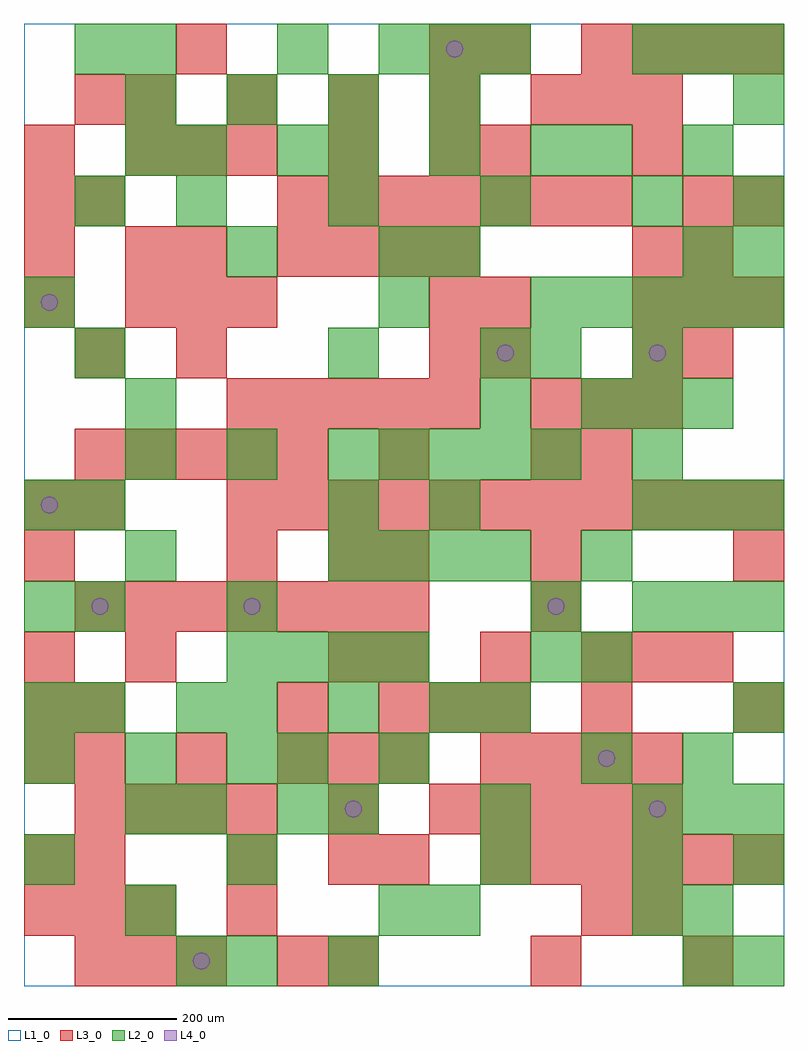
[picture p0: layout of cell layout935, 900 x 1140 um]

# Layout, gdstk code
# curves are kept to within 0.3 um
import gdstk
lib = gdstk.Library(unit=1e-6, precision=1e-09)
def R(c, l, rs):  # rectangles x0, y0, x1, y1
    for r in rs: c.add(gdstk.rectangle(r[:2], r[2:], *l))
def A(c, l, x, y, w, h, nx, ny, dx, dy):  # array of equal rectangles
    R(c, l, [(x+i*dx, y+j*dy, x+i*dx+w, y+j*dy+h) for i in range(nx) for j in range(ny)])
def P(c, l, *ps):  # polygons
    for p in ps: c.add(gdstk.Polygon(p, *l))
L1_0 = (1, 0)
L2_0 = (2, 0)
L3_0 = (3, 0)
L4_0 = (4, 0)

layout935 = lib.new_cell('layout935')
R(layout935, L1_0, [(0,0,900,1140)])
A(layout935, L2_0, 360, 180, 60, 60, 3, 1, 180, 0)
A(layout935, L2_0, 0, 240, 60, 60, 3, 1, 120, 0)
A(layout935, L2_0, 660, 240, 60, 60, 1, 3, 0, 120)
A(layout935, L2_0, 0, 300, 60, 60, 1, 3, 0, 120)
A(layout935, L2_0, 60, 300, 60, 60, 1, 3, 0, 120)
A(layout935, L2_0, 240, 300, 60, 60, 3, 1, 120, 0)
A(layout935, L2_0, 240, 360, 60, 60, 4, 1, 60, 0)
A(layout935, L2_0, 720, 420, 60, 60, 3, 2, 60, 120)
A(layout935, L2_0, 360, 480, 60, 60, 4, 1, 60, 0)
A(layout935, L2_0, 120, 600, 60, 60, 3, 1, 120, 0)
A(layout935, L2_0, 420, 600, 60, 60, 4, 1, 60, 0)
A(layout935, L2_0, 660, 660, 60, 60, 3, 1, 60, 0)
A(layout935, L2_0, 60, 720, 60, 60, 1, 3, 0, 180)
A(layout935, L2_0, 600, 780, 60, 60, 5, 1, 60, 0)
A(layout935, L2_0, 180, 900, 60, 60, 4, 1, 180, 0)
A(layout935, L2_0, 360, 960, 60, 60, 3, 1, 120, 0)
A(layout935, L2_0, 120, 1020, 60, 60, 4, 1, 120, 0)
A(layout935, L2_0, 420, 1080, 60, 60, 3, 1, 60, 0)
A(layout935, L2_0, 720, 1080, 60, 60, 3, 1, 60, 0)
R(layout935, L2_0, [(180,0,240,60), (240,0,300,60), (360,0,420,60), (780,0,840,60), (840,0,900,60), (120,60,180,120), (420,60,480,120), (480,60,540,120), (720,60,780,120), (780,60,840,120), (0,120,60,180), (240,120,300,180), (540,120,600,180), (720,120,780,180), (840,120,900,180), (120,180,180,240), (180,180,240,240), (300,180,360,240), (780,180,840,240), (840,180,900,240), (300,240,360,300), (420,240,480,300), (780,240,840,300), (180,300,240,360), (540,300,600,360), (840,300,900,360), (600,360,660,420), (240,420,300,480), (600,420,660,480), (120,480,180,540), (360,540,420,600), (480,540,540,600), (720,600,780,660), (120,660,180,720), (540,660,600,720), (360,720,420,780), (540,720,600,780), (600,720,660,780), (720,720,780,780), (0,780,60,840), (420,780,480,840), (240,840,300,900), (420,840,480,900), (480,840,540,900), (780,840,840,900), (840,840,900,900), (840,900,900,960), (120,960,180,1020), (180,960,240,1020), (300,960,360,1020), (660,960,720,1020), (780,960,840,1020), (840,1020,900,1080), (120,1080,180,1140), (300,1080,360,1140)])
A(layout935, L3_0, 60, 0, 60, 60, 3, 1, 60, 0)
A(layout935, L3_0, 780, 0, 60, 60, 1, 3, 0, 360)
A(layout935, L3_0, 0, 60, 60, 60, 3, 1, 60, 0)
A(layout935, L3_0, 360, 120, 60, 60, 1, 3, 0, 60)
A(layout935, L3_0, 540, 120, 60, 60, 6, 1, 60, 0)
A(layout935, L3_0, 60, 180, 60, 60, 4, 1, 60, 0)
A(layout935, L3_0, 480, 180, 60, 60, 5, 1, 60, 0)
A(layout935, L3_0, 0, 240, 60, 60, 1, 3, 0, 60)
A(layout935, L3_0, 60, 240, 60, 60, 3, 1, 120, 0)
A(layout935, L3_0, 540, 240, 60, 60, 4, 1, 60, 0)
A(layout935, L3_0, 420, 300, 60, 60, 3, 1, 60, 0)
A(layout935, L3_0, 420, 360, 60, 60, 3, 1, 120, 0)
A(layout935, L3_0, 60, 420, 60, 60, 7, 1, 60, 0)
A(layout935, L3_0, 60, 540, 60, 60, 1, 3, 0, 180)
A(layout935, L3_0, 240, 540, 60, 60, 11, 1, 60, 0)
A(layout935, L3_0, 60, 600, 60, 60, 5, 1, 60, 0)
A(layout935, L3_0, 240, 660, 60, 60, 5, 1, 60, 0)
A(layout935, L3_0, 600, 660, 60, 60, 3, 1, 60, 0)
A(layout935, L3_0, 720, 720, 60, 60, 1, 3, 0, 120)
A(layout935, L3_0, 0, 780, 60, 60, 1, 4, 0, 60)
A(layout935, L3_0, 120, 780, 60, 60, 3, 2, 60, 180)
A(layout935, L3_0, 720, 780, 60, 60, 3, 1, 60, 0)
A(layout935, L3_0, 300, 840, 60, 60, 4, 1, 60, 0)
A(layout935, L3_0, 300, 900, 60, 60, 7, 1, 60, 0)
A(layout935, L3_0, 120, 1020, 60, 60, 5, 1, 120, 0)
A(layout935, L3_0, 660, 1080, 60, 60, 4, 1, 60, 0)
R(layout935, L3_0, [(300,0,360,60), (360,0,420,60), (600,0,660,60), (240,60,300,120), (660,60,720,120), (720,60,780,120), (0,120,60,180), (60,120,120,180), (240,120,300,180), (420,120,480,180), (420,240,480,300), (60,300,120,360), (300,300,360,360), (660,300,720,360), (840,300,900,360), (120,360,180,420), (360,360,420,420), (720,360,780,420), (600,420,660,480), (0,480,60,540), (240,480,300,540), (360,480,420,540), (420,480,480,540), (600,480,660,540), (840,480,900,540), (0,540,60,600), (420,600,480,660), (600,600,660,660), (660,600,720,660), (180,720,240,780), (480,720,540,780), (540,720,600,780), (480,780,540,840), (540,780,600,840), (120,840,180,900), (180,840,240,900), (780,840,840,900), (780,900,840,960), (840,900,900,960), (360,960,420,1020), (480,960,540,1020), (540,960,600,1020), (60,1020,120,1080), (660,1020,720,1080), (720,1020,780,1080), (180,1080,240,1140), (480,1080,540,1140), (540,1080,600,1140)])
P(layout935, L4_0, [(40,570),(39.239,573.827),(37.071,577.071),(33.827,579.239),(30,580),(26.173,579.239),(22.929,577.071),(20.761,573.827),(20,570),(20.761,566.173),(22.929,562.929),(26.173,560.761),(30,560),(33.827,560.761),(37.071,562.929),(39.239,566.173)],
  [(40,810),(39.239,813.827),(37.071,817.071),(33.827,819.239),(30,820),(26.173,819.239),(22.929,817.071),(20.761,813.827),(20,810),(20.761,806.173),(22.929,802.929),(26.173,800.761),(30,800),(33.827,800.761),(37.071,802.929),(39.239,806.173)],
  [(100,450),(99.239,453.827),(97.071,457.071),(93.827,459.239),(90,460),(86.173,459.239),(82.929,457.071),(80.761,453.827),(80,450),(80.761,446.173),(82.929,442.929),(86.173,440.761),(90,440),(93.827,440.761),(97.071,442.929),(99.239,446.173)],
  [(220,30),(219.239,33.827),(217.071,37.071),(213.827,39.239),(210,40),(206.173,39.239),(202.929,37.071),(200.761,33.827),(200,30),(200.761,26.173),(202.929,22.929),(206.173,20.761),(210,20),(213.827,20.761),(217.071,22.929),(219.239,26.173)],
  [(280,450),(279.239,453.827),(277.071,457.071),(273.827,459.239),(270,460),(266.173,459.239),(262.929,457.071),(260.761,453.827),(260,450),(260.761,446.173),(262.929,442.929),(266.173,440.761),(270,440),(273.827,440.761),(277.071,442.929),(279.239,446.173)],
  [(400,210),(399.239,213.827),(397.071,217.071),(393.827,219.239),(390,220),(386.173,219.239),(382.929,217.071),(380.761,213.827),(380,210),(380.761,206.173),(382.929,202.929),(386.173,200.761),(390,200),(393.827,200.761),(397.071,202.929),(399.239,206.173)],
  [(520,1110),(519.239,1113.827),(517.071,1117.071),(513.827,1119.239),(510,1120),(506.173,1119.239),(502.929,1117.071),(500.761,1113.827),(500,1110),(500.761,1106.173),(502.929,1102.929),(506.173,1100.761),(510,1100),(513.827,1100.761),(517.071,1102.929),(519.239,1106.173)],
  [(580,750),(579.239,753.827),(577.071,757.071),(573.827,759.239),(570,760),(566.173,759.239),(562.929,757.071),(560.761,753.827),(560,750),(560.761,746.173),(562.929,742.929),(566.173,740.761),(570,740),(573.827,740.761),(577.071,742.929),(579.239,746.173)],
  [(640,450),(639.239,453.827),(637.071,457.071),(633.827,459.239),(630,460),(626.173,459.239),(622.929,457.071),(620.761,453.827),(620,450),(620.761,446.173),(622.929,442.929),(626.173,440.761),(630,440),(633.827,440.761),(637.071,442.929),(639.239,446.173)],
  [(700,270),(699.239,273.827),(697.071,277.071),(693.827,279.239),(690,280),(686.173,279.239),(682.929,277.071),(680.761,273.827),(680,270),(680.761,266.173),(682.929,262.929),(686.173,260.761),(690,260),(693.827,260.761),(697.071,262.929),(699.239,266.173)],
  [(760,210),(759.239,213.827),(757.071,217.071),(753.827,219.239),(750,220),(746.173,219.239),(742.929,217.071),(740.761,213.827),(740,210),(740.761,206.173),(742.929,202.929),(746.173,200.761),(750,200),(753.827,200.761),(757.071,202.929),(759.239,206.173)],
  [(760,750),(759.239,753.827),(757.071,757.071),(753.827,759.239),(750,760),(746.173,759.239),(742.929,757.071),(740.761,753.827),(740,750),(740.761,746.173),(742.929,742.929),(746.173,740.761),(750,740),(753.827,740.761),(757.071,742.929),(759.239,746.173)])

lib.write_gds('layout935.gds')
